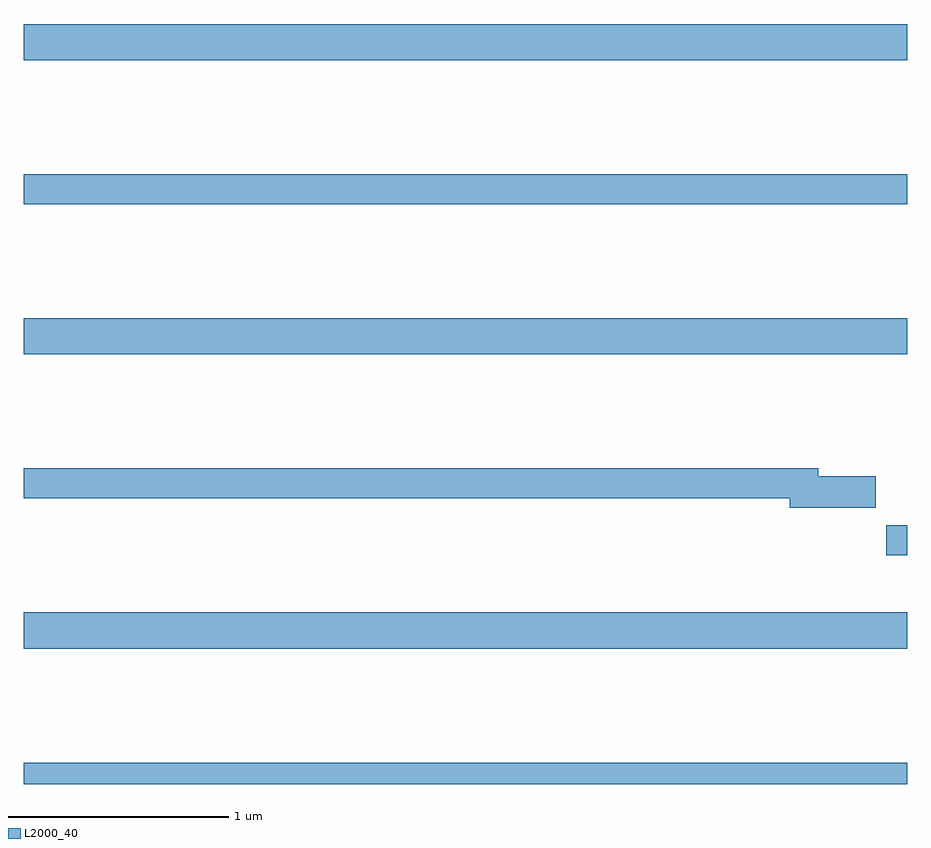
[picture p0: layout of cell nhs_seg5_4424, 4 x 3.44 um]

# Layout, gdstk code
import gdstk
lib = gdstk.Library(unit=1e-6, precision=1e-09)
def R(c, l, rs):  # rectangles x0, y0, x1, y1
    for r in rs: c.add(gdstk.rectangle(r[:2], r[2:], *l))
def A(c, l, x, y, w, h, nx, ny, dx, dy):  # array of equal rectangles
    R(c, l, [(x+i*dx, y+j*dy, x+i*dx+w, y+j*dy+h) for i in range(nx) for j in range(ny)])
def P(c, l, *ps):  # polygons
    for p in ps: c.add(gdstk.Polygon(p, *l))
L2000_40 = (2000, 40)

nhs_seg5_4424 = lib.new_cell('nhs_seg5_4424')
A(nhs_seg5_4424, L2000_40, 371, 871.412, 4, 0.164, 1, 3, 0, 1.332)
R(nhs_seg5_4424, L2000_40, [(371,870.799,375,870.896), (374.904,871.835,375,871.97), (371,873.424,375,873.56)])
P(nhs_seg5_4424, L2000_40, [(374.857,872.192),(374.596,872.192),(374.596,872.228),(371,872.228),(371,872.092),(374.468,872.092),(374.468,872.05),(374.857,872.05)])

lib.write_gds('nhs_seg5_4424.gds')
